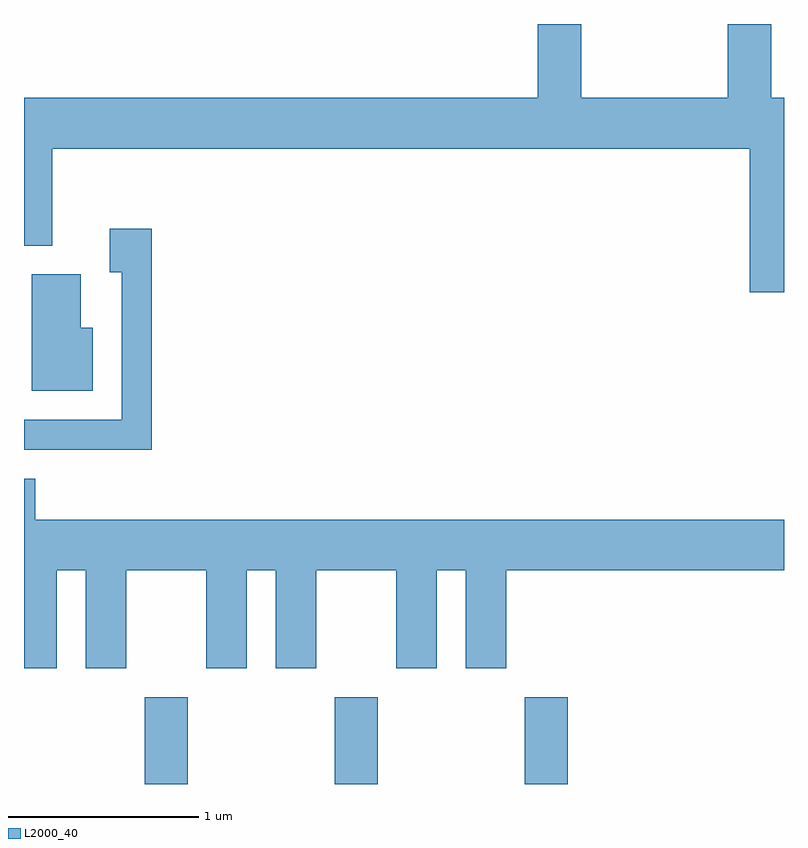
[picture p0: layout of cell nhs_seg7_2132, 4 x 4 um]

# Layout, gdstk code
import gdstk
lib = gdstk.Library(unit=1e-6, precision=1e-09)
def R(c, l, rs):  # rectangles x0, y0, x1, y1
    for r in rs: c.add(gdstk.rectangle(r[:2], r[2:], *l))
def A(c, l, x, y, w, h, nx, ny, dx, dy):  # array of equal rectangles
    R(c, l, [(x+i*dx, y+j*dy, x+i*dx+w, y+j*dy+h) for i in range(nx) for j in range(ny)])
def P(c, l, *ps):  # polygons
    for p in ps: c.add(gdstk.Polygon(p, *l))
L2000_40 = (2000, 40)

nhs_seg7_2132 = lib.new_cell('nhs_seg7_2132')
A(nhs_seg7_2132, L2000_40, 250.246, 1764.252, 0.228, 0.457, 3, 1, 1, 0)
P(nhs_seg7_2132, L2000_40, [(253.611,1767.864),(253.544,1767.864),(253.544,1768.252),(253.316,1768.252),(253.316,1767.864),(252.544,1767.864),(252.544,1768.252),(252.316,1768.252),(252.316,1767.864),(249.611,1767.864),(249.611,1767.086),(249.759,1767.086),(249.759,1767.596),(253.431,1767.596),(253.431,1766.841),(253.611,1766.841)],
  [(250.284,1767.174),(250.061,1767.174),(250.061,1766.946),(250.126,1766.946),(250.126,1766.169),(249.611,1766.169),(249.611,1766.011),(250.284,1766.011)],
  [(249.974,1766.654),(249.909,1766.654),(249.909,1766.934),(249.651,1766.934),(249.651,1766.321),(249.974,1766.321)],
  [(249.784,1765.376),(249.936,1765.376),(249.936,1764.861),(250.149,1764.861),(250.149,1765.376),(250.571,1765.376),(250.571,1764.861),(250.784,1764.861),(250.784,1765.376),(250.936,1765.376),(250.936,1764.861),(251.149,1764.861),(251.149,1765.376),(251.571,1765.376),(251.571,1764.861),(251.784,1764.861),(251.784,1765.376),(251.936,1765.376),(251.936,1764.861),(252.149,1764.861),(252.149,1765.376),(253.611,1765.376),(253.611,1765.644),(249.669,1765.644),(249.669,1765.859),(249.611,1765.859),(249.611,1764.861),(249.784,1764.861)])

lib.write_gds('nhs_seg7_2132.gds')
